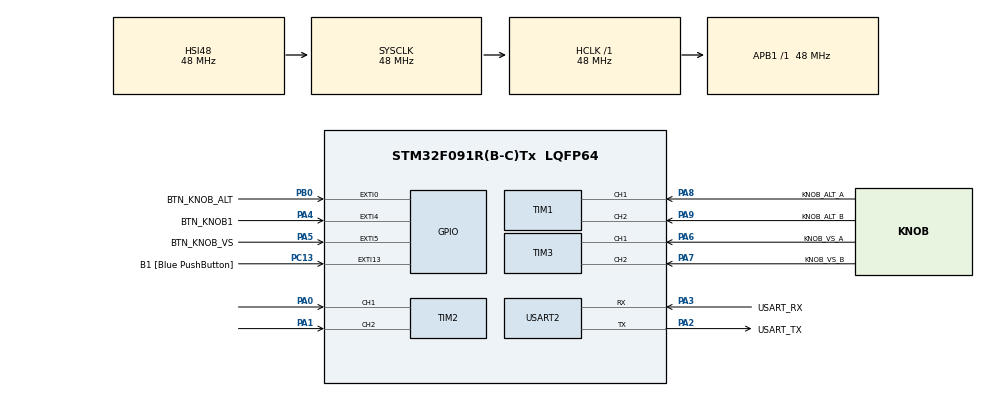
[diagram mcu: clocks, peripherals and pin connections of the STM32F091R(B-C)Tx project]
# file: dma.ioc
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Dma.Request0=USART2_TX
Dma.USART2_TX.0.Direction=DMA_MEMORY_TO_PERIPH
Dma.USART2_TX.0.Instance=DMA1_Channel2
Dma.USART2_TX.0.MemDataAlignment=DMA_MDATAALIGN_BYTE
Dma.USART2_TX.0.MemInc=DMA_MINC_ENABLE
Dma.USART2_TX.0.Mode=DMA_NORMAL
Dma.USART2_TX.0.PeriphDataAlignment=DMA_PDATAALIGN_BYTE
Dma.USART2_TX.0.PeriphInc=DMA_PINC_DISABLE
Dma.USART2_TX.0.Priority=DMA_PRIORITY_MEDIUM
Mcu.Family=STM32F0
Mcu.Name=STM32F091R(B-C)Tx
Mcu.Package=LQFP64
NVIC.DMA1_Ch2_3_DMA2_Ch1_2_IRQn=true\:0\:0\:false\:false\:true\:false\:true\:true
NVIC.EXTI0_1_IRQn=true\:0\:0\:false\:false\:true\:true\:true\:true
NVIC.EXTI4_15_IRQn=true\:0\:0\:false\:false\:true\:true\:true\:true
NVIC.USART2_IRQn=true\:0\:0\:false\:false\:true\:true\:true\:true
PA0.GPIO_PuPd=GPIO_PULLUP
PA0.Signal=S_TIM2_CH1_ETR
PA1.GPIO_PuPd=GPIO_PULLUP
PA1.Signal=S_TIM2_CH2
PA13.GPIO_Label=TMS
PA13.Mode=Serial_Wire
PA13.Signal=SYS_SWDIO
PA14.GPIO_Label=TCK
PA14.Mode=Serial_Wire
PA14.Signal=SYS_SWCLK
PA2.GPIO_Label=USART_TX
PA2.GPIO_Mode=GPIO_MODE_AF_PP
PA2.GPIO_PuPd=GPIO_NOPULL
PA2.GPIO_Speed=GPIO_SPEED_FREQ_LOW
PA2.Mode=Asynchronous
PA2.Signal=USART2_TX
PA3.GPIO_Label=USART_RX
PA3.GPIO_Mode=GPIO_MODE_AF_PP
PA3.GPIO_PuPd=GPIO_NOPULL
PA3.GPIO_Speed=GPIO_SPEED_FREQ_LOW
PA3.Mode=Asynchronous
PA3.Signal=USART2_RX
PA4.GPIO_Label=BTN_KNOB1
PA4.GPIO_ModeDefaultEXTI=GPIO_MODE_IT_FALLING
PA4.GPIO_PuPd=GPIO_PULLUP
PA4.Signal=GPXTI4
PA5.GPIO_Label=BTN_KNOB_VS
PA5.GPIO_ModeDefaultEXTI=GPIO_MODE_IT_FALLING
PA5.GPIO_PuPd=GPIO_PULLUP
PA5.Signal=GPXTI5
PA6.GPIO_Label=KNOB_VS_A
PA6.GPIO_PuPd=GPIO_PULLUP
PA6.Signal=S_TIM3_CH1
PA7.GPIO_Label=KNOB_VS_B
PA7.GPIO_PuPd=GPIO_PULLUP
PA7.Signal=S_TIM3_CH2
PA8.GPIO_Label=KNOB_ALT_A
PA8.GPIO_PuPd=GPIO_PULLUP
PA8.Signal=S_TIM1_CH1
PA9.GPIO_Label=KNOB_ALT_B
PA9.GPIO_PuPd=GPIO_PULLUP
PA9.Signal=S_TIM1_CH2
PB0.GPIO_Label=BTN_KNOB_ALT
PB0.GPIO_ModeDefaultEXTI=GPIO_MODE_IT_FALLING
PB0.GPIO_PuPd=GPIO_PULLUP
PB0.Signal=GPXTI0
PC13.GPIO_Label=B1 [Blue PushButton]
PC13.GPIO_ModeDefaultEXTI=GPIO_MODE_IT_FALLING
PC13.Signal=GPXTI13
PC14OSC32_IN.Mode=LSE-External-Oscillator
PC14OSC32_IN.Signal=RCC_OSC32_IN
PC15OSC32_OUT.Mode=LSE-External-Oscillator
PC15OSC32_OUT.Signal=RCC_OSC32_OUT
PF0-OSC_IN.Mode=HSE-External-Oscillator
PF0-OSC_IN.Signal=RCC_OSC_IN
PF1-OSC_OUT.Mode=HSE-External-Oscillator
PF1-OSC_OUT.Signal=RCC_OSC_OUT
ProjectManager.HeapSize=0x200
ProjectManager.StackSize=0x400
ProjectManager.TargetToolchain=STM32CubeIDE
RCC.AHBFreq_Value=48000000
RCC.APB1Freq_Value=48000000
RCC.APB1TimFreq_Value=48000000
RCC.FLatency-AdvancedSettings=FLASH_LATENCY_1
RCC.HCLKFreq_Value=48000000
RCC.PLLDivider=RCC_PREDIV_DIV2
RCC.PLLMUL=RCC_PLL_MUL12
RCC.PLLSourceVirtual=RCC_PLLSOURCE_HSE
RCC.PREFETCH_ENABLE-AdvancedSettings=1
RCC.SYSCLKFreq_VALUE=48000000
RCC.SYSCLKSource=RCC_SYSCLKSOURCE_HSI48
SH.S_TIM1_CH1.0=TIM1_CH1,Encoder_Interface
SH.S_TIM1_CH2.0=TIM1_CH2,Encoder_Interface
SH.S_TIM2_CH1_ETR.0=TIM2_CH1,Encoder_Interface
SH.S_TIM2_CH2.0=TIM2_CH2,Encoder_Interface
SH.S_TIM3_CH1.0=TIM3_CH1,Encoder_Interface
SH.S_TIM3_CH2.0=TIM3_CH2,Encoder_Interface
TIM1.EncoderMode=TIM_ENCODERMODE_TI12
TIM2.EncoderMode=TIM_ENCODERMODE_TI12
TIM2.IC1Filter=15
TIM2.IC2Filter=15
TIM3.EncoderMode=TIM_ENCODERMODE_TI12
USART2.VirtualMode=VM_ASYNC
USART2.VirtualMode-Asynchronous=VM_ASYNC
board=NUCLEO-F091RC

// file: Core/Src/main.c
/* USER CODE BEGIN Header */
/**
  ******************************************************************************
  * @file           : main.c
  * @brief          : Main program body
  ******************************************************************************
  * @attention
  *
  * Copyright (c) 2025 STMicroelectronics.
  * All rights reserved.
  *
  * This software is licensed under terms that can be found in the LICENSE file
  * in the root directory of this software component.
  * If no LICENSE file comes with this software, it is provided AS-IS.
  *
  ******************************************************************************
  */
/* USER CODE END Header */
#include "main.h"

/* USER CODE BEGIN PTD */

/**
 * @brief Encoder state and configuration structure
 *
 * This structure encapsulates everything needed for one rotary encoder:
 * - Hardware configuration (which timer, which button pin)
 * - Protocol configuration (which commands to send)
 * - Runtime state (position tracking, debouncing, rate limiting)
 * - Calibration (counts-per-detent scaling)
 *
 * WHY USE A STRUCTURE?
 * --------------------
 * Instead of having separate variables for each encoder (encoder1_count,
 * encoder2_count, etc.), we group related data together. Benefits:
 *
 * 1. ORGANIZATION: All encoder data in one place
 * 2. REUSABILITY: Same ProcessEncoder() function works for all encoders
 * 3. SCALABILITY: Adding encoder #4 = just add one line to array
 * 4. MAINTAINABILITY: Change structure once, affects all encoders
 *
 * This is how professional embedded code handles multiple similar peripherals!
 */
typedef struct {
    // Hardware configuration
    // ----------------------
    TIM_HandleTypeDef* htim;      // Pointer to hardware timer (htim1/htim2/htim3)
    uint16_t button_pin;          // GPIO pin number for button (e.g., GPIO_PIN_4)
    GPIO_TypeDef* button_port;    // GPIO port for button (e.g., GPIOA, GPIOB)

    // Protocol configuration
    // ----------------------
    uint8_t cmd_reset;            // Command ID for reset (e.g., 0x10 for HDG)
    uint8_t cmd_set;              // Command ID for set delta (e.g., 0x11 for HDG)

    // Runtime state variables
    // -----------------------
    // These track the encoder's current state and are updated by ProcessEncoder()
    int32_t last_count;           // Last timer counter value (for delta calculation)
    int32_t accumulated_delta;    // Accumulated counts before scaling and sending
    uint32_t last_send_time;      // Timestamp of last UART send (for rate limiting)
    uint32_t last_movement_time;  // Timestamp of last encoder movement (for noise rejection)
    uint32_t button_last_press;   // Timestamp of last button press (for debouncing)

    // DMA buffer
    // ----------
    // CRITICAL: Each encoder MUST have its own buffer!
    // If encoders shared one buffer, they would overwrite each other's data
    // while DMA is still transmitting. This caused unreliable transfers.
    uint8_t tx_buffer[4];         // Dedicated UART transmit buffer for this encoder

    // Calibration
    // -----------
    uint8_t counts_per_unit;      // How many hardware counts = 1 command unit
                                  // (e.g., 4 for encoders with 4 counts per detent)
} Encoder_t;

/* USER CODE END PTD */

/* USER CODE BEGIN PD */
// Protocol constants
#define PROTO_START      0xAA

// Heading control (0x10-0x1F range)
#define CMD_HDG_RESET    0x10
#define CMD_HDG_SET      0x11

// Altitude control (0x20-0x2F range)
#define CMD_ALT_RESET    0x20
#define CMD_ALT_SET      0x21

// Vertical Speed control (0x30-0x3F range)
#define CMD_VS_RESET     0x30
#define CMD_VS_SET       0x31

/* ============================================================================
 * ENCODER CONFIGURATION
 * ============================================================================
 */

/**
 * @brief Encoder scaling divisor
 *
 * This constant adjusts how many encoder counts equal one HDG:SET unit.
 * It compensates for the encoder's pulses-per-revolution vs detents ratio.
 *
 * HOW TO DETERMINE THE RIGHT VALUE:
 * ---------------------------------
 * 1. Set to 1 initially (no scaling)
 * 2. Rotate encoder one detent (one "click")
 * 3. Observe how many HDG:SET packets are sent
 *    - If 1 packet with delta=+1 → Divisor = 1 (perfect, no change needed)
 *    - If 2 packets with delta=+1 → Divisor = 2
 *    - If 1 packet with delta=+2 → Divisor = 2
 *    - If 1 packet with delta=+4 → Divisor = 4 (most common with TI12 mode)
 * 4. Adjust ENCODER_COUNTS_PER_UNIT to match
 *
 * CURRENT CONFIGURATION: 4 (verified working)
 * -------------------------------------------
 * This encoder produces 4 hardware counts per detent click:
 * - TI12 encoder mode counts all edges on both channels (4× resolution)
 * - One detent = one complete quadrature cycle = 4 edges
 * - Dividing by 4 gives perfect 1:1 mapping (one click = ±1)
 *
 * GOAL: One physical detent click = one HDG:SET(±1) command
 *
 * EXAMPLES FOR OTHER ENCODERS:
 * - Value 1: No scaling (use raw encoder counts)
 * - Value 2: Divide counts by 2 (low-res encoders or TI1 mode)
 * - Value 4: Divide counts by 4 (CURRENT - typical for TI12 mode)
 */
#define ENCODER_COUNTS_PER_UNIT  4

/* USER CODE END PD */

TIM_HandleTypeDef htim1;
TIM_HandleTypeDef htim2;
TIM_HandleTypeDef htim3;

UART_HandleTypeDef huart2;
DMA_HandleTypeDef hdma_usart2_tx;

/* USER CODE BEGIN PV */

/* ============================================================================
 * ENCODER ARRAY - STRUCTURE-BASED APPROACH
 * ============================================================================
 * Instead of separate variables for each encoder, we use an array of structures.
 * This is a fundamental embedded systems pattern for handling multiple peripherals.
 *
 * ARRAY INITIALIZATION SYNTAX:
 * ----------------------------
 * Each line in the array initializes one Encoder_t structure. The values inside
 * the curly braces correspond to the struct fields in order:
 *
 * { htim, cmd_reset, cmd_set, button_pin, button_port, last_count, accumulated_delta,
 *   last_send_time, button_last_press, counts_per_unit }
 *
 * We initialize state variables to 0 (they'll be updated at runtime), and set
 * configuration values to the appropriate hardware/protocol constants.
 *
 * WHY THIS IS BETTER:
 * -------------------
 * - Before: 3 encoders × 4 state variables = 12 separate variables
 * - After:  1 array with 3 elements = clean, organized, scalable
 * - Bonus:  Same ProcessEncoder() function works for all 3!
 */
static Encoder_t encoders[3] = {
    // Encoder 0: Heading (HDG)
    // ------------------------
    // Timer: TIM2 (PA0/PA1), Button: PA4
    // Commands: 0x10 (reset), 0x11 (set)
    // All state initialized to 0, calibration set to 4 counts/detent
    {
        &htim2,              // Hardware timer handle
        BTN_KNOB1_Pin,       // Button GPIO pin (PA4)
        GPIOA,               // Button GPIO port
        CMD_HDG_RESET,       // Reset command (0x10)
        CMD_HDG_SET,         // Set command (0x11)
        0,                   // last_count (initialized to 0)
        0,                   // accumulated_delta (initialized to 0)
        0,                   // last_send_time (initialized to 0)
        0,                   // last_movement_time (initialized to 0)
        0,                   // button_last_press (initialized to 0)
        {0},                 // tx_buffer (initialized to zeros)
        4                    // counts_per_unit (4 for TI12 mode)
    },

    // Encoder 1: Vertical Speed (VS)
    // -------------------------------
    // Timer: TIM3 (PA6/PA7), Button: PA5
    // Commands: 0x30 (reset), 0x31 (set)
    {
        &htim3,              // Hardware timer handle
        BTN_KNOB_VS_Pin,     // Button GPIO pin (PA5)
        GPIOA,               // Button GPIO port
        CMD_VS_RESET,        // Reset command (0x30)
        CMD_VS_SET,          // Set command (0x31)
        0,                   // last_count
        0,                   // accumulated_delta
        0,                   // last_send_time
        0,                   // last_movement_time
        0,                   // button_last_press
        {0},                 // tx_buffer (initialized to zeros)
        4                    // counts_per_unit
    },

    // Encoder 2: Altitude (ALT)
    // --------------------------
    // Timer: TIM1 (PA8/PA9), Button: PB0
    // Commands: 0x20 (reset), 0x21 (set)
    {
        &htim1,              // Hardware timer handle
        BTN_KNOB_ALT_Pin,    // Button GPIO pin (PB0)
        GPIOB,               // Button GPIO port (NOTE: GPIOB, not GPIOA!)
        CMD_ALT_RESET,       // Reset command (0x20)
        CMD_ALT_SET,         // Set command (0x21)
        0,                   // last_count
        0,                   // accumulated_delta
        0,                   // last_send_time
        0,                   // last_movement_time
        0,                   // button_last_press
        {0},                 // tx_buffer (initialized to zeros)
        4                    // counts_per_unit
    }
};

/* USER CODE END PV */

void SystemClock_Config(void);
static void MX_GPIO_Init(void);
static void MX_DMA_Init(void);
static void MX_USART2_UART_Init(void);
static void MX_TIM2_Init(void);
static void MX_TIM3_Init(void);
static void MX_TIM1_Init(void);
/* USER CODE BEGIN PFP */

/* ============================================================================
 * USER FUNCTION PROTOTYPES
 * ============================================================================
 */

/**
 * @brief Process rotary encoder and send appropriate commands
 *
 * This function reads the specified encoder's hardware timer counter,
 * calculates the delta (change) since the last read, and sends the
 * appropriate command via UART if the encoder has moved. Works with
 * any encoder in the encoders[] array via parameterization.
 *
 * Includes rate limiting, accumulation, and scaling for all encoders.
 *
 * @param enc: Pointer to the encoder structure to process
 * @note Called from main loop for each encoder. Hardware timers count
 *       encoder pulses automatically in background.
 */
void ProcessEncoder(Encoder_t* enc);

/* USER CODE END PFP */

/* USER CODE BEGIN 0 */
// Old test buffer - no longer needed
// uint8_t UART2_txBuffer[5] = {0xAA, 0x01, 0x32, 0x00, 0xFF};

/* USER CODE END 0 */

int main(void)
{

  /* MCU Configuration--------------------------------------------------------*/

  /* Reset of all peripherals, Initializes the Flash interface and the Systick. */
  HAL_Init();

  /* Configure the system clock */
  SystemClock_Config();

  /* Initialize all configured peripherals */
  MX_GPIO_Init();
  MX_DMA_Init();
  MX_USART2_UART_Init();
  MX_TIM2_Init();
  MX_TIM3_Init();
  MX_TIM1_Init();
  /* USER CODE BEGIN 2 */

  /* ============================================================================
   * START ALL ENCODER TIMERS
   * ============================================================================
   * We start all 3 hardware timers in encoder mode. Each timer automatically
   * counts its encoder's pulses in the background:
   *
   * - Clockwise rotation: Counter increments (goes up)
   * - Counter-clockwise:  Counter decrements (goes down)
   * - TIM_CHANNEL_ALL:    Enables both channels (A and B inputs)
   *
   * The counters run continuously with NO CPU involvement. Our ProcessEncoder()
   * function will simply read the counter values periodically to check for
   * changes. This is why hardware encoder mode is so efficient!
   *
   * ENCODER ASSIGNMENTS:
   * --------------------
   * TIM2 (32-bit): HDG encoder on PA0/PA1
   * TIM3 (16-bit): VS encoder on PA6/PA7
   * TIM1 (16-bit): ALT encoder on PA8/PA9
   *
   * Technical details:
   * - All configured in TI12 mode (4x resolution)
   * - Count on all edges of both channels: rising A, falling A, rising B, falling B
   * - TIM2 is 32-bit (0 to 4,294,967,295) - virtually impossible to overflow
   * - TIM1/TIM3 are 16-bit (0 to 65,535) - but still plenty for human input speeds
   * - Direction detection handled automatically by hardware quadrature decoder
   */
  HAL_TIM_Encoder_Start(&htim2, TIM_CHANNEL_ALL);  // HDG encoder
  HAL_TIM_Encoder_Start(&htim3, TIM_CHANNEL_ALL);  // VS encoder
  HAL_TIM_Encoder_Start(&htim1, TIM_CHANNEL_ALL);  // ALT encoder

  /* USER CODE END 2 */

  /* Infinite loop */
  /* USER CODE BEGIN WHILE */
  while (1)
  {
    /* ========================================================================
     * MAIN LOOP - MULTI-ENCODER PROCESSING
     * ========================================================================
     * This is a simple polling loop that continuously checks ALL encoders.
     *
     * HOW IT WORKS:
     * -------------
     * 1. Call ProcessEncoder() for each encoder in the array
     * 2. Each call reads its timer's hardware counter (automatic counting)
     * 3. If the counter changed, calculates delta and sends appropriate command
     * 4. HAL_Delay(10) paces the loop at ~100 Hz (100 iterations per second)
     *
     * STRUCTURE-BASED APPROACH:
     * -------------------------
     * Instead of ProcessEncoderHDG(), ProcessEncoderVS(), ProcessEncoderALT(),
     * we call the SAME function 3 times with different structure pointers:
     *
     *   ProcessEncoder(&encoders[0]);  // HDG: reads TIM2, sends CMD_HDG_SET
     *   ProcessEncoder(&encoders[1]);  // VS:  reads TIM3, sends CMD_VS_SET
     *   ProcessEncoder(&encoders[2]);  // ALT: reads TIM1, sends CMD_ALT_SET
     *
     * This is elegant! One function, three encoders, minimal code duplication.
     *
     * WHY 10ms DELAY IS FINE:
     * -----------------------
     * - All hardware timers count encoder pulses continuously in the background
     * - No pulses are ever missed, even during the delay
     * - 100 Hz polling is plenty fast for human input (humans can't spin
     *   encoders faster than ~10 rotations/second)
     * - Lower CPU usage than busy-waiting (CPU can sleep during delay)
     *
     * BUTTON HANDLING:
     * ----------------
     * All encoder buttons are handled by interrupt (HAL_GPIO_EXTI_Callback),
     * not in this loop. When you press any button, the interrupt fires
     * immediately and sends the appropriate RESET command. No polling needed!
     *
     * EXPANSION TO 4 ENCODERS:
     * ------------------------
     * To add a 4th encoder, just:
     * 1. Add it to the encoders[] array in the PV section
     * 2. Add ProcessEncoder(&encoders[3]); below
     * 3. Change loop limit in HAL_GPIO_EXTI_Callback from 3 to 4
     *
     * That's it! The structure-based approach scales beautifully.
     */

    // Process all encoder rotations and send appropriate commands
    // ------------------------------------------------------------
    // NOTICE: We pass a pointer to each encoder structure using &encoders[i]
    // The & operator gives us the address of the array element.
    ProcessEncoder(&encoders[0]);  // HDG encoder (TIM2)
    ProcessEncoder(&encoders[1]);  // VS encoder (TIM3)
    ProcessEncoder(&encoders[2]);  // ALT encoder (TIM1)

    // Pace the main loop at ~100 Hz (10ms delay)
    // -------------------------------------------
    // This is NOT blocking:
    // - Encoder counting (hardware timers do that continuously)
    // - Button presses (interrupts handle those immediately)
    HAL_Delay(10);

    /* USER CODE END WHILE */

  }
}

void SystemClock_Config(void)
{
  RCC_OscInitTypeDef RCC_OscInitStruct = {0};
  RCC_ClkInitTypeDef RCC_ClkInitStruct = {0};
  RCC_PeriphCLKInitTypeDef PeriphClkInit = {0};

  /** Initializes the RCC Oscillators according to the specified parameters
  * in the RCC_OscInitTypeDef structure.
  */
  RCC_OscInitStruct.OscillatorType = RCC_OSCILLATORTYPE_HSI48;
  RCC_OscInitStruct.HSI48State = RCC_HSI48_ON;
  RCC_OscInitStruct.PLL.PLLState = RCC_PLL_NONE;
  if (HAL_RCC_OscConfig(&RCC_OscInitStruct) != HAL_OK)
  {
    Error_Handler();
  }

  /** Initializes the CPU, AHB and APB buses clocks
  */
  RCC_ClkInitStruct.ClockType = RCC_CLOCKTYPE_HCLK|RCC_CLOCKTYPE_SYSCLK
                              |RCC_CLOCKTYPE_PCLK1;
  RCC_ClkInitStruct.SYSCLKSource = RCC_SYSCLKSOURCE_HSI48;
  RCC_ClkInitStruct.AHBCLKDivider = RCC_SYSCLK_DIV1;
  RCC_ClkInitStruct.APB1CLKDivider = RCC_HCLK_DIV1;

  if (HAL_RCC_ClockConfig(&RCC_ClkInitStruct, FLASH_LATENCY_1) != HAL_OK)
  {
    Error_Handler();
  }
  PeriphClkInit.PeriphClockSelection = RCC_PERIPHCLK_USART2;
  PeriphClkInit.Usart2ClockSelection = RCC_USART2CLKSOURCE_PCLK1;
  if (HAL_RCCEx_PeriphCLKConfig(&PeriphClkInit) != HAL_OK)
  {
    Error_Handler();
  }
}

static void MX_TIM1_Init(void)
{

  TIM_Encoder_InitTypeDef sConfig = {0};
  TIM_MasterConfigTypeDef sMasterConfig = {0};

  htim1.Instance = TIM1;
  htim1.Init.Prescaler = 0;
  htim1.Init.CounterMode = TIM_COUNTERMODE_UP;
  htim1.Init.Period = 65535;
  htim1.Init.ClockDivision = TIM_CLOCKDIVISION_DIV1;
  htim1.Init.RepetitionCounter = 0;
  htim1.Init.AutoReloadPreload = TIM_AUTORELOAD_PRELOAD_DISABLE;
  sConfig.EncoderMode = TIM_ENCODERMODE_TI12;
  sConfig.IC1Polarity = TIM_ICPOLARITY_RISING;
  sConfig.IC1Selection = TIM_ICSELECTION_DIRECTTI;
  sConfig.IC1Prescaler = TIM_ICPSC_DIV1;
  sConfig.IC1Filter = 0;
  sConfig.IC2Polarity = TIM_ICPOLARITY_RISING;
  sConfig.IC2Selection = TIM_ICSELECTION_DIRECTTI;
  sConfig.IC2Prescaler = TIM_ICPSC_DIV1;
  sConfig.IC2Filter = 0;
  if (HAL_TIM_Encoder_Init(&htim1, &sConfig) != HAL_OK)
  {
    Error_Handler();
  }
  sMasterConfig.MasterOutputTrigger = TIM_TRGO_RESET;
  sMasterConfig.MasterSlaveMode = TIM_MASTERSLAVEMODE_DISABLE;
  if (HAL_TIMEx_MasterConfigSynchronization(&htim1, &sMasterConfig) != HAL_OK)
  {
    Error_Handler();
  }

}

static void MX_TIM2_Init(void)
{

  TIM_Encoder_InitTypeDef sConfig = {0};
  TIM_MasterConfigTypeDef sMasterConfig = {0};

  htim2.Instance = TIM2;
  htim2.Init.Prescaler = 0;
  htim2.Init.CounterMode = TIM_COUNTERMODE_UP;
  htim2.Init.Period = 4294967295;
  htim2.Init.ClockDivision = TIM_CLOCKDIVISION_DIV1;
  htim2.Init.AutoReloadPreload = TIM_AUTORELOAD_PRELOAD_DISABLE;
  sConfig.EncoderMode = TIM_ENCODERMODE_TI12;
  sConfig.IC1Polarity = TIM_ICPOLARITY_RISING;
  sConfig.IC1Selection = TIM_ICSELECTION_DIRECTTI;
  sConfig.IC1Prescaler = TIM_ICPSC_DIV1;
  sConfig.IC1Filter = 15;
  sConfig.IC2Polarity = TIM_ICPOLARITY_RISING;
  sConfig.IC2Selection = TIM_ICSELECTION_DIRECTTI;
  sConfig.IC2Prescaler = TIM_ICPSC_DIV1;
  sConfig.IC2Filter = 15;
  if (HAL_TIM_Encoder_Init(&htim2, &sConfig) != HAL_OK)
  {
    Error_Handler();
  }
  sMasterConfig.MasterOutputTrigger = TIM_TRGO_RESET;
  sMasterConfig.MasterSlaveMode = TIM_MASTERSLAVEMODE_DISABLE;
  if (HAL_TIMEx_MasterConfigSynchronization(&htim2, &sMasterConfig) != HAL_OK)
  {
    Error_Handler();
  }

}

static void MX_TIM3_Init(void)
{

  TIM_Encoder_InitTypeDef sConfig = {0};
  TIM_MasterConfigTypeDef sMasterConfig = {0};

  htim3.Instance = TIM3;
  htim3.Init.Prescaler = 0;
  htim3.Init.CounterMode = TIM_COUNTERMODE_UP;
  htim3.Init.Period = 65535;
  htim3.Init.ClockDivision = TIM_CLOCKDIVISION_DIV1;
  htim3.Init.AutoReloadPreload = TIM_AUTORELOAD_PRELOAD_DISABLE;
  sConfig.EncoderMode = TIM_ENCODERMODE_TI12;
  sConfig.IC1Polarity = TIM_ICPOLARITY_RISING;
  sConfig.IC1Selection = TIM_ICSELECTION_DIRECTTI;
  sConfig.IC1Prescaler = TIM_ICPSC_DIV1;
  sConfig.IC1Filter = 0;
  sConfig.IC2Polarity = TIM_ICPOLARITY_RISING;
  sConfig.IC2Selection = TIM_ICSELECTION_DIRECTTI;
  sConfig.IC2Prescaler = TIM_ICPSC_DIV1;
  sConfig.IC2Filter = 0;
  if (HAL_TIM_Encoder_Init(&htim3, &sConfig) != HAL_OK)
  {
    Error_Handler();
  }
  sMasterConfig.MasterOutputTrigger = TIM_TRGO_RESET;
  sMasterConfig.MasterSlaveMode = TIM_MASTERSLAVEMODE_DISABLE;
  if (HAL_TIMEx_MasterConfigSynchronization(&htim3, &sMasterConfig) != HAL_OK)
  {
    Error_Handler();
  }

}

static void MX_USART2_UART_Init(void)
{

  huart2.Instance = USART2;
  huart2.Init.BaudRate = 115200;
  huart2.Init.WordLength = UART_WORDLENGTH_8B;
  huart2.Init.StopBits = UART_STOPBITS_1;
  huart2.Init.Parity = UART_PARITY_NONE;
  huart2.Init.Mode = UART_MODE_TX_RX;
  huart2.Init.HwFlowCtl = UART_HWCONTROL_NONE;
  huart2.Init.OverSampling = UART_OVERSAMPLING_16;
  huart2.Init.OneBitSampling = UART_ONE_BIT_SAMPLE_DISABLE;
  huart2.AdvancedInit.AdvFeatureInit = UART_ADVFEATURE_NO_INIT;
  if (HAL_UART_Init(&huart2) != HAL_OK)
  {
    Error_Handler();
  }

}

static void MX_DMA_Init(void)
{

  /* DMA controller clock enable */
  __HAL_RCC_DMA1_CLK_ENABLE();

  /* DMA interrupt init */
  /* DMA1_Ch2_3_DMA2_Ch1_2_IRQn interrupt configuration */
  HAL_NVIC_SetPriority(DMA1_Ch2_3_DMA2_Ch1_2_IRQn, 0, 0);
  HAL_NVIC_EnableIRQ(DMA1_Ch2_3_DMA2_Ch1_2_IRQn);

}

static void MX_GPIO_Init(void)
{
  GPIO_InitTypeDef GPIO_InitStruct = {0};

  /* GPIO Ports Clock Enable */
  __HAL_RCC_GPIOC_CLK_ENABLE();
  __HAL_RCC_GPIOF_CLK_ENABLE();
  __HAL_RCC_GPIOA_CLK_ENABLE();
  __HAL_RCC_GPIOB_CLK_ENABLE();

  /*Configure GPIO pin : B1_Pin */
  GPIO_InitStruct.Pin = B1_Pin;
  GPIO_InitStruct.Mode = GPIO_MODE_IT_FALLING;
  GPIO_InitStruct.Pull = GPIO_NOPULL;
  HAL_GPIO_Init(B1_GPIO_Port, &GPIO_InitStruct);

  /*Configure GPIO pins : BTN_KNOB1_Pin BTN_KNOB_VS_Pin */
  GPIO_InitStruct.Pin = BTN_KNOB1_Pin|BTN_KNOB_VS_Pin;
  GPIO_InitStruct.Mode = GPIO_MODE_IT_FALLING;
  GPIO_InitStruct.Pull = GPIO_PULLUP;
  HAL_GPIO_Init(GPIOA, &GPIO_InitStruct);

  /*Configure GPIO pin : BTN_KNOB_ALT_Pin */
  GPIO_InitStruct.Pin = BTN_KNOB_ALT_Pin;
  GPIO_InitStruct.Mode = GPIO_MODE_IT_FALLING;
  GPIO_InitStruct.Pull = GPIO_PULLUP;
  HAL_GPIO_Init(BTN_KNOB_ALT_GPIO_Port, &GPIO_InitStruct);

  /* EXTI interrupt init*/
  HAL_NVIC_SetPriority(EXTI0_1_IRQn, 0, 0);
  HAL_NVIC_EnableIRQ(EXTI0_1_IRQn);

  HAL_NVIC_SetPriority(EXTI4_15_IRQn, 0, 0);
  HAL_NVIC_EnableIRQ(EXTI4_15_IRQn);

}

/* USER CODE BEGIN 4 */

/**
 * @brief Send generic command via UART using encoder's dedicated buffer
 *
 * This is a generic function that builds and transmits any 4-byte protocol packet.
 * It calculates the XOR checksum and sends via DMA.
 *
 * WHY EACH ENCODER NEEDS ITS OWN BUFFER:
 * ---------------------------------------
 * CRITICAL FIX: We used to have ONE shared static buffer for all encoders.
 * This caused a race condition:
 *
 * 1. HDG encoder calls SendCommand → fills buffer, starts DMA
 * 2. DMA takes ~35μs to transmit 4 bytes at 115200 baud
 * 3. VS encoder calls SendCommand → OVERWRITES buffer while DMA is reading!
 * 4. Result: Corrupted/mixed packets sent 💥
 *
 * Solution: Each encoder has its own tx_buffer[4] in the structure.
 * Now encoders can't interfere with each other's transmissions.
 *
 * PROTOCOL FORMAT:
 * ----------------
 * Byte 0: START (0xAA) - frame sync marker
 * Byte 1: COMMAND - what action to perform (e.g., 0x11 = HDG:SET)
 * Byte 2: OPERAND - command parameter (e.g., +5 for HDG:SET)
 * Byte 3: CHECKSUM - XOR of first 3 bytes for error detection
 *
 * USAGE EXAMPLES:
 * ---------------
 * SendCommand(&encoders[0], CMD_HDG_RESET, 0);     // Send HDG:RESET
 * SendCommand(&encoders[1], CMD_VS_SET, 5);        // Send VS:SET with +5
 * SendCommand(&encoders[2], CMD_ALT_SET, -10);     // Send ALT:SET with -10
 *
 * @param enc: Pointer to encoder structure (provides dedicated buffer)
 * @param cmd: Command byte (0x00-0xFF)
 * @param operand: Command parameter as signed 8-bit (-128 to +127)
 */
void SendCommand(Encoder_t* enc, uint8_t cmd, int8_t operand)
{
    // Use THIS encoder's dedicated buffer (not a shared static one!)
    // This prevents race conditions when multiple encoders send simultaneously
    uint8_t* txBuffer = enc->tx_buffer;

    // Build the 4-byte packet in the encoder's buffer
    txBuffer[0] = PROTO_START;              // Always 0xAA
    txBuffer[1] = cmd;                      // Command byte (varies)
    txBuffer[2] = (uint8_t)operand;         // Operand (cast signed→unsigned)
    txBuffer[3] = PROTO_START ^ cmd ^ (uint8_t)operand;  // XOR checksum

    // Transmit via DMA (non-blocking)
    // DMA controller will send these 4 bytes in background while CPU continues
    // Each encoder's buffer is independent, so no interference!
    HAL_UART_Transmit_DMA(&huart2, txBuffer, 4);
}

/* ============================================================================
 * ENCODER PROCESSING FUNCTION
 * ============================================================================
 */

/**
 * @brief Process rotary encoder and send appropriate commands
 *
 * THIS IS THE KEY REFACTORING: One function handles ALL encoders!
 * =================================================================
 * Instead of ProcessEncoderHDG(), ProcessEncoderVS(), ProcessEncoderALT(),
 * we have ONE function that accepts a pointer to an Encoder_t structure.
 * The structure tells us which timer to read, which commands to send, etc.
 *
 * This is called "parameterization" - making a function work on different
 * data by passing parameters instead of hardcoding values.
 *
 * USAGE:
 * ------
 * ProcessEncoder(&encoders[0]);  // Process HDG encoder
 * ProcessEncoder(&encoders[1]);  // Process VS encoder
 * ProcessEncoder(&encoders[2]);  // Process ALT encoder
 *
 * HOW IT WORKS:
 * -------------
 * Hardware timers (TIM1/TIM2/TIM3) are configured in encoder mode with TI12
 * (4x resolution). The hardware automatically monitors the A/B channels:
 *
 * - When you rotate clockwise:  Counter increments (e.g., 100 -> 104)
 * - When you rotate counter-CW: Counter decrements (e.g., 100 -> 96)
 * - The hardware handles all the quadrature decoding logic
 *
 * We simply read the counter, compare it to the last value, and the difference
 * is our delta. This delta becomes the operand for the command.
 *
 * STRUCTURE FIELD ACCESS:
 * -----------------------
 * enc->htim              : Which timer to read (htim1, htim2, or htim3)
 * enc->last_count        : Previous counter value for this encoder
 * enc->accumulated_delta : Accumulated counts for this encoder
 * enc->cmd_set           : Which command to send (HDG:SET, VS:SET, or ALT:SET)
 *
 * The -> operator accesses fields through a pointer.
 *
 * @param enc: Pointer to the encoder structure to process
 */
void ProcessEncoder(Encoder_t* enc)
{
    // Rate limiting configuration
    // ---------------------------
    // Minimum time between UART transmissions in milliseconds.
    // 20ms = 50 Hz maximum update rate. Adjust if needed:
    //   - Lower (e.g., 10ms): More responsive, higher UART traffic
    //   - Higher (e.g., 50ms): Less responsive, lower UART traffic
    const uint32_t MIN_SEND_INTERVAL_MS = 20;

    // =========================================================================
    // STEP 1: Read current encoder position from hardware
    // =========================================================================
    // __HAL_TIM_GET_COUNTER reads the timer's CNT register directly.
    // NOTICE: We use enc->htim, not a hardcoded timer!
    //         This is why the same function works for HDG, VS, and ALT.
    //
    // This value changes automatically in hardware as the encoder rotates:
    // - Clockwise rotation: Counter increments
    // - Counter-clockwise:  Counter decrements
    // - No CPU intervention needed!
    //
    // Cast to int32_t for signed arithmetic (encoder can go both directions)
    int32_t current_count = (int32_t)__HAL_TIM_GET_COUNTER(enc->htim);

    // =========================================================================
    // STEP 2: Calculate raw delta (change since last read)
    // =========================================================================
    // This is how many counts the hardware encoder has moved since we last
    // checked. Could be positive (CW), negative (CCW), or zero (no movement).
    //
    // NOTICE: We use enc->last_count, which is unique to this encoder!
    //         HDG encoder has its own last_count, VS has its own, etc.
    int32_t delta = current_count - enc->last_count;

    // =========================================================================
    // STEP 3: Accumulate delta and update reference position
    // =========================================================================
    // KEY CONCEPT: We ALWAYS update enc->last_count when delta != 0,
    // regardless of whether we send via UART. This prevents seeing the
    // same encoder movement multiple times.
    //
    // WHY THIS MATTERS:
    // A single detent click might take 30-80ms mechanically. During that time,
    // the encoder generates multiple electrical pulses. Without immediate
    // reference update, we would see:
    //   t=0ms:  counter 100→101, delta=+1 → send
    //   t=10ms: counter 101→102, delta=+1 → send again! (duplicate)
    //
    // With immediate update:
    //   t=0ms:  counter 100→101, delta=+1, accum=+1, last=101
    //   t=10ms: counter 101→102, delta=+1, accum=+2, last=102
    //   t=20ms: Rate limit OK, send accum=+2, reset accum=0
    if (delta != 0)
    {
        enc->accumulated_delta += delta;       // Add to this encoder's accumulator
        enc->last_count = current_count;       // Update this encoder's reference
        enc->last_movement_time = HAL_GetTick();  // Track movement for noise rejection
    }

    // =========================================================================
    // STEP 4: Send accumulated delta when rate limit allows
    // =========================================================================
    // Only transmit when:
    // 1. We have accumulated movement (accumulated_delta != 0)
    // 2. Enough time has passed since last transmission (rate limiting)
    //
    // NOTICE: Each encoder has its own rate limiting timestamp!
    if (enc->accumulated_delta != 0)
    {
        uint32_t current_time = HAL_GetTick();
        uint32_t time_since_last_send = current_time - enc->last_send_time;

        if (time_since_last_send >= MIN_SEND_INTERVAL_MS)
        {
            // ================================================================
            // STEP 5: Scale accumulated delta by encoder divisor
            // ================================================================
            // Convert raw encoder counts to logical units.
            // This compensates for encoder PPR vs detent count mismatch.
            //
            // NOTICE: We use enc->counts_per_unit, which is configurable
            //         per encoder! Each encoder can have different scaling.
            //
            // EXAMPLE (encoder with counts_per_unit = 4):
            //   Physical: User clicks encoder 1 detent
            //   Hardware: Counter increments by 4 (four edges in TI12 mode)
            //   Accumulated: +4
            //   Scaled: +4 / 4 = +1
            //   Sent: XXX:SET(+1) ← One click = one unit!
            //
            // To adjust: Modify counts_per_unit in encoders[] array initialization
            int32_t scaled_delta = enc->accumulated_delta / enc->counts_per_unit;

            // ================================================================
            // STEP 6: Only send if scaled delta is non-zero
            // ================================================================
            // After division, very small movements might round to zero.
            // Don't send a packet if there's nothing meaningful to send.
            // The fractional part stays in the accumulator for next time.
            if (scaled_delta != 0)
            {
                // ============================================================
                // STEP 7: Clamp to protocol range (-128 to +127)
                // ============================================================
                // UART protocol uses signed 8-bit operand. If user spins
                // encoder extremely fast, clamp to prevent overflow.
                if (scaled_delta > 127)
                    scaled_delta = 127;
                else if (scaled_delta < -128)
                    scaled_delta = -128;

                // ============================================================
                // STEP 8: Send the appropriate command via UART
                // ============================================================
                // NOTICE: We use enc->cmd_set, which varies by encoder!
                //   - For HDG: enc->cmd_set = CMD_HDG_SET (0x11)
                //   - For VS:  enc->cmd_set = CMD_VS_SET (0x31)
                //   - For ALT: enc->cmd_set = CMD_ALT_SET (0x21)
                //
                // This is the magic that makes one function work for all encoders!
                // Pass enc so SendCommand uses this encoder's dedicated tx_buffer
                SendCommand(enc, enc->cmd_set, (int8_t)scaled_delta);

                // ============================================================
                // STEP 9: Update timestamps and accumulator
                // ============================================================
                // Record send time for rate limiting
                enc->last_send_time = current_time;

                // Subtract the UNSCALED amount we just sent from accumulator.
                // Why multiply back? Because we divided for sending, but the
                // accumulator tracks raw counts.
                //
                // Example:
                //   accumulated_delta = 5 raw counts
                //   counts_per_unit = 2
                //   scaled_delta = 5 / 2 = 2 (integer division)
                //   We sent: +2
                //   We used: 2 * 2 = 4 raw counts
                //   Remaining: 5 - 4 = 1 raw count (saved for next time)
                enc->accumulated_delta -= (scaled_delta * enc->counts_per_unit);
            }
            // If scaled_delta is 0 (very small movement), keep it in
            // accumulator. It will add up with future movements until
            // it's large enough to send.
        }
        // If rate limited, accumulated_delta stays as-is and will be
        // sent on the next cycle when rate limit permits.
    }
}

/* ============================================================================
 * BUTTON INTERRUPT HANDLER
 * ============================================================================
 */

/**
 * @brief GPIO External Interrupt Callback
 *
 * THIS IS ANOTHER KEY REFACTORING: One handler for ALL encoder buttons!
 * ======================================================================
 * This function is called automatically by the HAL when ANY GPIO pin configured
 * as an external interrupt (EXTI) triggers. Instead of hardcoding button checks,
 * we loop through the encoders array to find which encoder's button was pressed.
 *
 * STRUCTURE-BASED APPROACH:
 * -------------------------
 * We iterate through encoders[0], encoders[1], encoders[2] and check:
 * - Is GPIO_Pin == this encoder's button_pin?
 * - If yes, send this encoder's cmd_reset command
 *
 * This scales perfectly! If we add a 4th encoder to the array, this handler
 * automatically supports it with ZERO code changes.
 *
 * INTERRUPT vs POLLING:
 * ---------------------
 * Unlike the encoder rotation (which we poll in the main loop), buttons use
 * interrupts. This means:
 * - Button press triggers this function IMMEDIATELY (within microseconds)
 * - No need to continuously check button state in main loop
 * - More responsive than polling
 * - Better for infrequent events like button presses
 *
 * WHY DEBOUNCING IS CRITICAL:
 * ---------------------------
 * Physical buttons don't make clean electrical contact. When you press a
 * button, the contacts "bounce" - they make/break contact rapidly for 5-50ms:
 *
 * Physical button:      Press!
 *                         ↓
 * Electrical signal:   __|‾|_|‾|‾‾‾‾‾  (bounce for ~20ms, then stable)
 *                         ↑ ↑ ↑
 *                      Multiple edges = multiple interrupts!
 *
 * Without debouncing, one button press would trigger this interrupt 5-10 times.
 * We prevent this using timestamps stored PER ENCODER in the structure.
 *
 * NOISE REJECTION (CRITICAL FOR VS ENCODER):
 * ------------------------------------------
 * When an encoder rotates, it generates electrical noise that can couple into
 * nearby wires (especially the button wire on the same encoder). This causes
 * false button interrupts during rotation.
 *
 * Solution: We reject button presses if the encoder was actively rotating
 * within the last 150ms. This is detected by checking enc->last_send_time.
 * If a command was sent recently, the encoder was moving, so the button
 * interrupt is likely noise and is ignored.
 *
 * INTERRUPT CONTEXT CONSIDERATIONS:
 * ----------------------------------
 * This function runs in interrupt context, not main loop context. Rules:
 * - Keep it FAST (microseconds, not milliseconds)
 * - Don't use HAL_Delay() - it blocks ALL interrupts
 * - Don't do heavy processing
 * - OK to call SendCommand() because it just triggers DMA (non-blocking)
 *
 * @param GPIO_Pin: The pin number that triggered the interrupt
 */
void HAL_GPIO_EXTI_Callback(uint16_t GPIO_Pin)
{
    // Debounce and noise rejection configuration
    // -------------------------------------------
    const uint32_t DEBOUNCE_TIME_MS = 100;  // Increased from 50ms to reject more noise
    const uint32_t ENCODER_QUIET_TIME_MS = 500;  // Increased to 500ms - rejects button when encoder is rotating/settling

    // Get current time once (more efficient than calling HAL_GetTick() repeatedly)
    uint32_t current_time = HAL_GetTick();

    // Loop through all encoders to find which button was pressed
    // -----------------------------------------------------------
    // NOTICE: We use a for loop to iterate through the encoders array.
    // The loop variable 'i' goes from 0 to 2 (3 encoders total).
    //
    // This is the key to scalability: If we add a 4th encoder to the array,
    // we just change 'i < 3' to 'i < 4' (or better, use a #define for count).
    for (int i = 0; i < 3; i++)
    {
        // Get pointer to current encoder for cleaner syntax
        Encoder_t* enc = &encoders[i];

        // Check if THIS encoder's button triggered the interrupt
        // -------------------------------------------------------
        // NOTICE: We check enc->button_pin, which is different for each encoder:
        //   - encoders[0]: BTN_KNOB1_Pin (PA4) for HDG
        //   - encoders[1]: BTN_KNOB_VS_Pin (PA5) for VS
        //   - encoders[2]: BTN_KNOB_ALT_Pin (PB0) for ALT
        if (GPIO_Pin == enc->button_pin)
        {
            // Calculate time since this specific encoder's last button press
            // ---------------------------------------------------------------
            // NOTICE: Each encoder has its own button_last_press timestamp!
            // Pressing HDG button doesn't affect VS button debouncing, etc.
            uint32_t time_since_last_press = current_time - enc->button_last_press;

            // Noise rejection: Ignore button if encoder was recently rotating
            // ----------------------------------------------------------------
            // CRITICAL FIX for VS encoder noise issue:
            // When the encoder rotates, it generates electrical noise that can
            // couple into the button pin and trigger false interrupts.
            //
            // We reject the button press if the encoder MOVED recently
            // (within ENCODER_QUIET_TIME_MS). We check last_movement_time, which
            // updates IMMEDIATELY when the encoder counter changes, not when we
            // send (which is rate-limited). This catches noise even before the
            // first UART packet is sent.
            uint32_t time_since_encoder_activity = current_time - enc->last_movement_time;

            if (time_since_encoder_activity < ENCODER_QUIET_TIME_MS)
            {
                // Encoder was recently rotating - this is likely noise, ignore it
                break;
            }

            // Debounce check
            // --------------
            if (time_since_last_press >= DEBOUNCE_TIME_MS)
            {
                // Valid button press - send appropriate RESET command
                // ----------------------------------------------------
                // NOTICE: We use enc->cmd_reset, which varies by encoder:
                //   - For HDG: CMD_HDG_RESET (0x10)
                //   - For VS:  CMD_VS_RESET (0x30)
                //   - For ALT: CMD_ALT_RESET (0x20)
                //
                // Operand is always 0 for reset commands.
                // Pass enc so SendCommand uses this encoder's dedicated tx_buffer
                SendCommand(enc, enc->cmd_reset, 0);

                // Update THIS encoder's debounce timestamp
                // -----------------------------------------
                enc->button_last_press = current_time;
            }

            // Found matching button, no need to check other encoders
            break;
        }
    }

    // If GPIO_Pin didn't match any encoder button, the interrupt came from
    // a different source (e.g., PC13 - the blue user button on Nucleo board).
    // We simply ignore it. You could add handling for other pins here if needed.
}

/* USER CODE END 4 */

void Error_Handler(void)
{
  __disable_irq();
  while (1)
  {
  }
}
